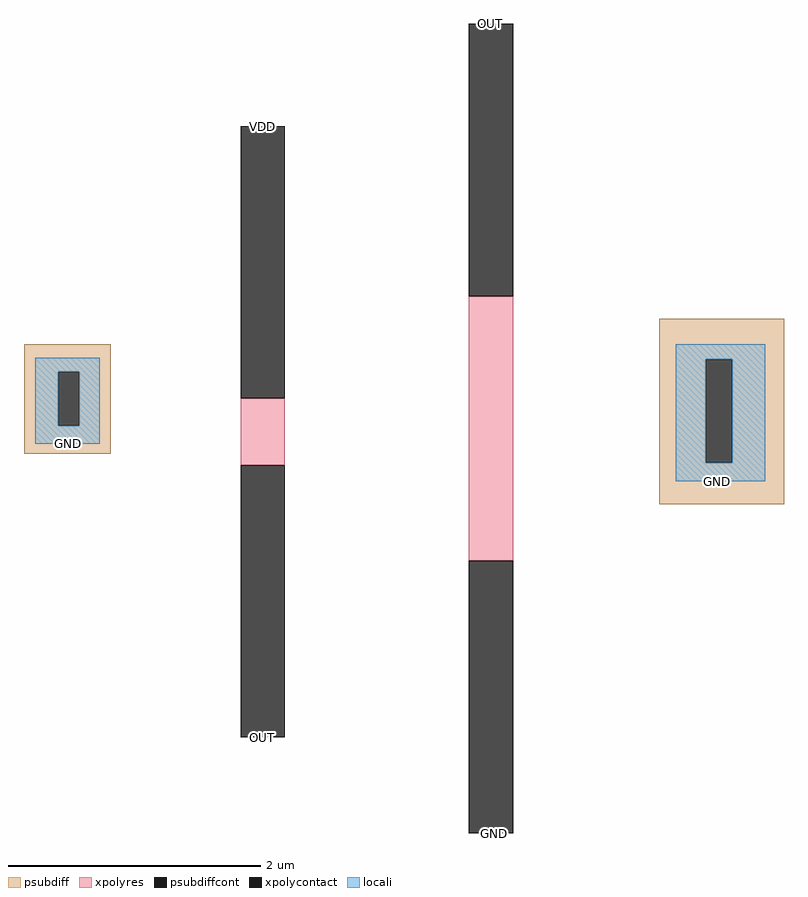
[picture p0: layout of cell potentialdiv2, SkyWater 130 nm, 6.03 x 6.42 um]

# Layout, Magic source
magic
tech sky130A
<< psubdiff >>
rect -172 74 -103 96
rect -172 31 -145 74
rect -128 31 -103 74
rect -172 9 -103 31
rect 332 84 431 116
rect 332 2 369 84
rect 390 2 431 84
rect 332 -31 431 2
<< psubdiffcont >>
rect -145 31 -128 74
rect 369 2 390 84
<< xpolycontact >>
rect 0 53 35 269
rect 0 -216 35 0
rect 181 134 216 350
rect 181 -292 216 -76
<< xpolyres >>
rect 0 0 35 53
rect 181 -76 216 134
<< locali >>
rect -163 74 -112 85
rect -163 31 -145 74
rect -128 31 -112 74
rect 345 84 416 96
rect -163 17 -112 31
rect 345 2 369 84
rect 390 2 416 84
rect 345 -13 416 2
<< labels >>
rlabel locali 378 -13 378 -13 5 GND
rlabel locali -137 17 -137 17 5 GND
rlabel xpolycontact 17 269 17 269 1 VDD
rlabel xpolycontact 17 -216 17 -216 5 OUT
rlabel xpolycontact 198 350 198 350 1 OUT
rlabel xpolycontact 201 -292 201 -292 5 GND
<< end >>
